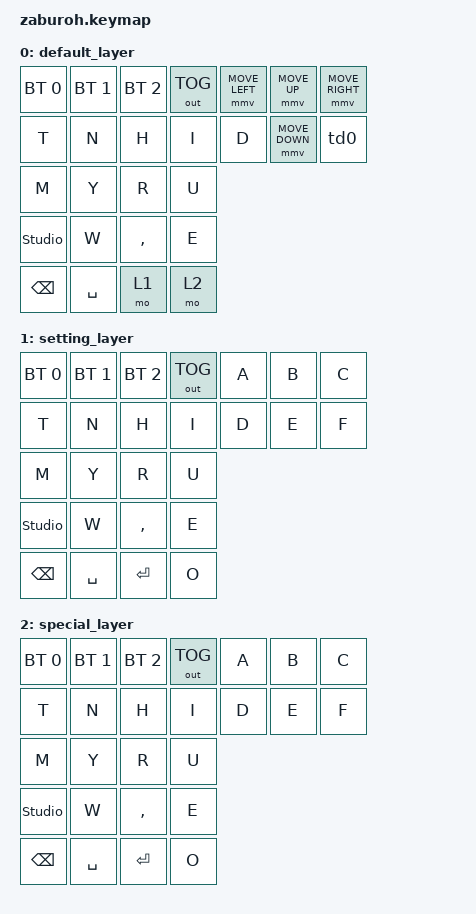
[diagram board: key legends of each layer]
// This file was generated from a template. Edit it to match your keyboard.
// See https://zmk.dev/docs/development/hardware-integration/new-shield for more instructions.

#include <behaviors.dtsi>
#include <dt-bindings/zmk/keys.h>
#include <dt-bindings/zmk/bt.h>
#include <dt-bindings/zmk/outputs.h>
#include <dt-bindings/zmk/pointing.h>

/ {
    td0: tap_dance_0 {
        compatible = "zmk,behavior-tap-dance";
        #binding-cells = <0>;
        tapping-term-ms = <400>;
        bindings = <&kp N0>, <&kp N1>, <&kp N2>, <&kp N3>, <&kp N4>, <&kp N5>, <&kp N6>, <&kp N7>, <&kp N8>, <&kp N9>; 
    };

    keymap {
        compatible = "zmk,keymap";

        default_layer { // Layer 0
            bindings = <
                &bt BT_SEL 0 &bt BT_SEL 1 &bt BT_SEL 2 &out OUT_TOG &mmv MOVE_LEFT &mmv MOVE_UP &mmv MOVE_RIGHT
                &kp T &kp N &kp H &kp I &kp D &mmv MOVE_DOWN &td0
                &kp M &kp Y &kp R &kp U
                &studio_unlock &kp W &kp COMMA &kp E
                &kp BACKSPACE &kp SPACE &mo 1 &mo 2
            >;
        };

        setting_layer { // Layer 1
            bindings = <
                &bt BT_SEL 0 &bt BT_SEL 1 &bt BT_SEL 2 &out OUT_TOG &kp A &kp B &kp C
                &kp T &kp N &kp H &kp I &kp D &kp E &kp F
                &kp M &kp Y &kp R &kp U
                &studio_unlock &kp W &kp COMMA &kp E
                &kp BACKSPACE &kp SPACE &kp RETURN &kp O
            >;
        };

        special_layer { // Layer 2
            bindings = <
                &bt BT_SEL 0 &bt BT_SEL 1 &bt BT_SEL 2 &out OUT_TOG &kp A &kp B &kp C
                &kp T &kp N &kp H &kp I &kp D &kp E &kp F
                &kp M &kp Y &kp R &kp U
                &studio_unlock &kp W &kp COMMA &kp E
                &kp BACKSPACE &kp SPACE &kp RETURN &kp O
            >;
        };
    };
};
